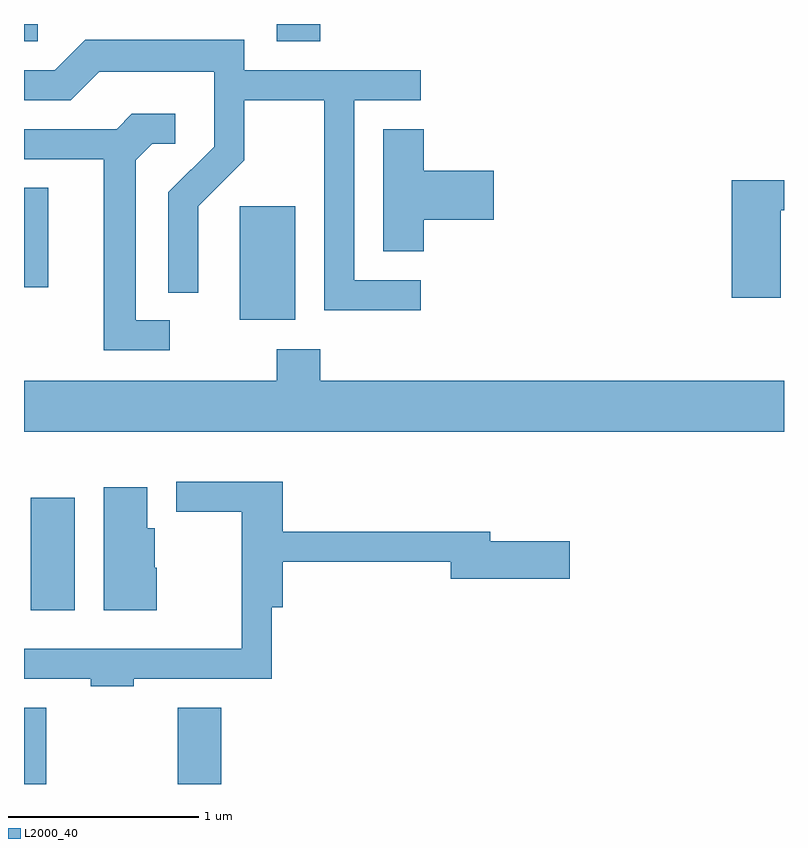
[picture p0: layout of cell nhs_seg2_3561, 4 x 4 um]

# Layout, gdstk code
import gdstk
lib = gdstk.Library(unit=1e-6, precision=1e-09)
def R(c, l, rs):  # rectangles x0, y0, x1, y1
    for r in rs: c.add(gdstk.rectangle(r[:2], r[2:], *l))
def P(c, l, *ps):  # polygons
    for p in ps: c.add(gdstk.Polygon(p, *l))
L2000_40 = (2000, 40)

nhs_seg2_3561 = lib.new_cell('nhs_seg2_3561')
R(nhs_seg2_3561, L2000_40, [(289.611,1039.802,289.729,1040.204), (290.421,1039.802,290.649,1040.204), (289.646,1040.716,289.879,1041.309), (290.746,1042.246,291.039,1042.844), (289.611,1042.416,289.739,1042.939), (289.611,1043.711,289.684,1043.802), (290.941,1043.711,291.169,1043.802)])
P(nhs_seg2_3561, L2000_40, [(291.698,1042.454),(291.349,1042.454),(291.349,1043.401),(291.698,1043.401),(291.698,1043.559),(290.769,1043.559),(290.769,1043.719),(289.934,1043.719),(289.774,1043.559),(289.611,1043.559),(289.611,1043.401),(289.857,1043.401),(290.007,1043.551),(290.611,1043.551),(290.611,1043.157),(290.371,1042.917),(290.371,1042.388),(290.529,1042.388),(290.529,1042.844),(290.769,1043.084),(290.769,1043.401),(291.191,1043.401),(291.191,1042.296),(291.698,1042.296)],
  [(290.378,1042.244),(290.199,1042.244),(290.199,1043.084),(290.287,1043.171),(290.408,1043.171),(290.408,1043.329),(290.179,1043.329),(290.099,1043.249),(289.611,1043.249),(289.611,1043.091),(290.031,1043.091),(290.031,1042.086),(290.378,1042.086)],
  [(291.714,1042.771),(292.084,1042.771),(292.084,1043.029),(291.714,1043.029),(291.714,1043.249),(291.501,1043.249),(291.501,1042.606),(291.714,1042.606)],
  [(293.594,1042.821),(293.611,1042.821),(293.611,1042.979),(293.336,1042.979),(293.336,1042.361),(293.594,1042.361)],
  [(293.611,1041.924),(291.169,1041.924),(291.169,1042.089),(290.941,1042.089),(290.941,1041.924),(289.611,1041.924),(289.611,1041.656),(293.611,1041.656)],
  [(290.189,1040.356),(290.914,1040.356),(290.914,1040.731),(290.974,1040.731),(290.974,1040.971),(291.856,1040.971),(291.856,1040.881),(292.484,1040.881),(292.484,1041.079),(292.064,1041.079),(292.064,1041.129),(290.974,1041.129),(290.974,1041.394),(290.413,1041.394),(290.413,1041.236),(290.756,1041.236),(290.756,1040.514),(289.611,1040.514),(289.611,1040.356),(289.961,1040.356),(289.961,1040.316),(290.189,1040.316)],
  [(290.309,1040.94),(290.299,1040.94),(290.299,1041.149),(290.259,1041.149),(290.259,1041.364),(290.031,1041.364),(290.031,1040.716),(290.309,1040.716)])

lib.write_gds('nhs_seg2_3561.gds')
